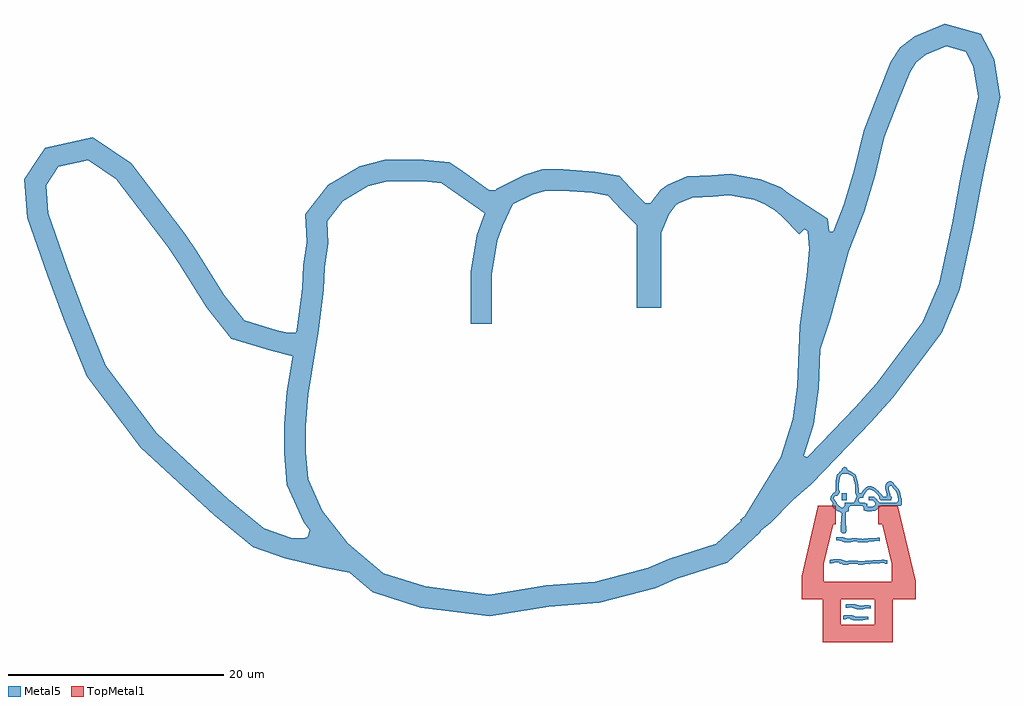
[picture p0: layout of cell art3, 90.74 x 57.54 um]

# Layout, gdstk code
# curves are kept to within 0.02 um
import gdstk
lib = gdstk.Library(unit=1e-6, precision=1e-09)
def R(c, l, rs):  # rectangles x0, y0, x1, y1
    for r in rs: c.add(gdstk.rectangle(r[:2], r[2:], *l))
def P(c, l, *ps):  # polygons
    for p in ps: c.add(gdstk.Polygon(p, *l))
Metal5 = (67, 0)
TopMetal1 = (126, 0)

art3 = lib.new_cell('art3')
R(art3, Metal5, [(-75.56,-4.755,-75.075,-4.13)])
P(art3, Metal5, [(-108.285,-15.555),(-114.69,-14.75),(-119.15,-13.345),(-121.31,-11.525),(-123.69,-11.06),(-127.345,-10.165),(-130.265,-9.145),(-133.9,-6.18),(-140.705,0.1),(-145.75,6.735),(-147.865,12.035),(-149.425,16.185),(-151.275,21.48),(-151.575,25.055),(-150.395,26.825),(-145.59,26.825),(-148.395,26.22),(-149.525,24.525),(-149.305,21.9),(-147.545,16.865),(-146.005,12.755),(-143.99,7.725),(-139.215,1.45),(-132.59,-4.67),(-129.275,-7.375),(-126.775,-8.245),(-126.515,-8.31),(-125.505,-8.31),(-125.185,-8.145),(-124.99,-7.55),(-125.58,-6.805),(-127.14,-3.335),(-127.375,-0.37),(-127.375,2.24),(-127.15,5.295),(-126.61,8.62),(-128.605,9.105),(-132.29,10.24),(-134.58,13.105),(-137.185,17.275),(-138.195,18.785),(-142.98,25.085),(-145.59,26.825),(-150.395,26.825),(-149.605,28.01),(-145.18,28.955),(-141.59,26.565),(-136.565,19.945),(-135.505,18.365),(-132.95,14.265),(-131.11,11.97),(-128.075,11.035),(-127.075,10.79),(-126.255,10.79),(-126.155,11.385),(-125.715,14.96),(-125.605,17.07),(-125.285,19.22),(-125.405,21.8),(-123.305,24.565),(-122.745,24.89),(-117.76,24.89),(-119.6,24.405),(-121.955,23.035),(-123.375,21.17),(-123.275,19.12),(-123.615,16.87),(-123.725,14.79),(-124.175,11.095),(-125.16,5.065),(-125.375,2.17),(-125.375,-0.29),(-125.17,-2.835),(-123.86,-5.755),(-121.47,-8.775),(-118.17,-11.555),(-114.26,-12.79),(-108.325,-13.535),(-103.02,-12.665),(-98.445,-12.34),(-93.54,-11.065),(-91.585,-10.195),(-87.225,-8.81),(-84.89,-6.665),(-84.965,-6.575),(-84.57,-6.245),(-81.235,-0.79),(-80.09,2.76),(-79.665,5.82),(-79.44,11.44),(-78.78,16.085),(-78.57,18.61),(-78.73,20.245),(-79.02,20.425),(-79.5,19.965),(-81.11,21.63),(-81.78,22.185),(-82.495,22.605),(-82.685,22.765),(-83.68,23.165),(-85.995,23.565),(-89.455,23.36),(-90.725,22.82),(-90.96,22.64),(-91.575,21.85),(-92.35,20.09),(-92.35,13.145),(-94.59,13.145),(-94.59,20.79),(-96.025,22.22),(-97.24,23.535),(-98.735,23.795),(-101.515,24.01),(-103.085,24.01),(-104.3,23.64),(-106.12,22.73),(-107.05,20.77),(-107.555,19.36),(-108.07,16.26),(-108.07,11.635),(-110.06,11.635),(-110.06,16.47),(-109.495,19.86),(-108.9,21.54),(-108.735,21.89),(-112.255,24.395),(-112.725,24.7),(-114.525,24.89),(-122.745,24.89),(-120.37,26.275),(-118.02,26.89),(-114.425,26.89),(-112.035,26.64),(-111.125,26.05),(-108.3,24.035),(-107.715,24.035),(-107.63,24.21),(-105.04,25.5),(-103.385,26.01),(-101.435,26.01),(-98.485,25.785),(-96.23,25.385),(-94.585,23.61),(-93.795,22.82),(-93.335,22.82),(-92.38,24.08),(-91.735,24.56),(-89.915,25.34),(-85.885,25.575),(-83.13,25.095),(-81.235,24.34),(-80.59,23.805),(-76.84,21.405),(-76.715,20.185),(-76.35,20.185),(-75.34,22.71),(-74.375,25.96),(-73.505,29.565),(-72.25,32.83),(-70.98,36.01),(-70.095,37.335),(-69.975,37.43),(-65.845,37.43),(-67.735,36.635),(-68.615,35.955),(-69.2,35.07),(-70.39,32.1),(-71.595,28.965),(-72.445,25.44),(-73.45,22.05),(-74.92,18.375),(-76.62,12.035),(-77.525,9.285),(-77.675,5.64),(-78.13,2.31),(-79.08,-0.62),(-78.745,-0.79),(-74.27,3.875),(-72.34,6.045),(-68.015,11.815),(-66.5,15.425),(-65.29,20.98),(-64.185,26.765),(-62.865,32.74),(-63.305,35.585),(-64.015,36.905),(-65.845,37.43),(-69.975,37.43),(-68.755,38.375),(-65.975,39.55),(-62.645,38.595),(-61.385,36.225),(-60.835,32.68),(-62.225,26.355),(-63.33,20.58),(-64.58,14.825),(-66.265,10.815),(-70.79,4.775),(-72.8,2.515),(-78.38,-3.305),(-80.11,-4.795),(-82.21,-6.89),(-83.04,-7.575),(-83.175,-7.8),(-86.195,-10.58),(-90.875,-12.065),(-92.88,-12.955),(-98.115,-14.32),(-102.79,-14.655)],
  [(-75.29,-8.675),(-75.29,-8.67),(-75.31,-8.67),(-75.31,-8.655),(-75.325,-8.655),(-75.325,-8.645),(-75.335,-8.645),(-75.335,-8.64),(-75.355,-8.64),(-75.355,-8.63),(-75.38,-8.63),(-75.38,-8.62),(-75.385,-8.62),(-75.385,-8.615),(-75.43,-8.615),(-75.43,-8.61),(-75.445,-8.61),(-75.445,-8.605),(-75.46,-8.605),(-75.46,-8.595),(-75.48,-8.595),(-75.48,-8.59),(-75.495,-8.59),(-75.495,-8.585),(-75.505,-8.585),(-75.505,-8.58),(-75.535,-8.58),(-75.535,-8.57),(-75.545,-8.57),(-75.545,-8.565),(-75.56,-8.565),(-75.56,-8.56),(-75.58,-8.56),(-75.58,-8.555),(-75.59,-8.555),(-75.59,-8.55),(-75.605,-8.55),(-75.605,-8.545),(-75.62,-8.545),(-75.62,-8.54),(-75.64,-8.54),(-75.64,-8.535),(-75.65,-8.535),(-75.65,-8.53),(-75.665,-8.53),(-75.665,-8.525),(-75.68,-8.525),(-75.68,-8.52),(-75.695,-8.52),(-75.695,-8.515),(-75.715,-8.515),(-75.715,-8.51),(-75.735,-8.51),(-75.735,-8.505),(-75.755,-8.505),(-75.755,-8.5),(-76.055,-8.5),(-76.055,-8.2),(-75.94,-8.2),(-75.94,-8.195),(-75.585,-8.195),(-75.585,-8.2),(-75.57,-8.2),(-75.57,-8.205),(-75.51,-8.205),(-75.51,-8.21),(-75.49,-8.21),(-75.49,-8.215),(-75.47,-8.215),(-75.47,-8.22),(-75.45,-8.22),(-75.45,-8.225),(-75.435,-8.225),(-75.435,-8.23),(-75.42,-8.23),(-75.42,-8.235),(-75.405,-8.235),(-75.405,-8.24),(-75.395,-8.24),(-75.395,-8.245),(-75.375,-8.245),(-75.375,-8.25),(-75.36,-8.25),(-75.36,-8.255),(-75.345,-8.255),(-75.345,-8.26),(-75.335,-8.26),(-75.335,-8.265),(-75.315,-8.265),(-75.315,-8.27),(-75.3,-8.27),(-75.3,-8.28),(-75.29,-8.28),(-75.29,-8.285),(-75.26,-8.285),(-75.26,-8.29),(-75.25,-8.29),(-75.25,-8.295),(-75.235,-8.295),(-75.235,-8.305),(-75.215,-8.305),(-75.215,-8.31),(-75.2,-8.31),(-75.2,-8.315),(-75.185,-8.315),(-75.185,-8.32),(-75.14,-8.32),(-75.14,-8.33),(-75.135,-8.33),(-75.135,-8.34),(-75.11,-8.34),(-75.11,-8.345),(-75.09,-8.345),(-75.09,-8.355),(-74.88,-8.355),(-74.88,-8.35),(-74.855,-8.35),(-74.855,-8.345),(-74.825,-8.345),(-74.825,-8.34),(-74.705,-8.34),(-74.705,-8.335),(-74.645,-8.335),(-74.645,-8.33),(-74.625,-8.33),(-74.625,-8.325),(-74.59,-8.325),(-74.59,-8.32),(-74.565,-8.32),(-74.565,-8.315),(-74.32,-8.315),(-74.32,-8.32),(-74.185,-8.32),(-74.185,-8.325),(-74.105,-8.325),(-74.105,-8.335),(-73.985,-8.335),(-73.985,-8.34),(-73.91,-8.34),(-73.91,-8.345),(-73.855,-8.345),(-73.855,-8.35),(-73.835,-8.35),(-73.835,-8.355),(-73.82,-8.355),(-73.82,-8.36),(-73.78,-8.36),(-73.78,-8.365),(-73.725,-8.365),(-73.725,-8.37),(-73.705,-8.37),(-73.705,-8.375),(-73.485,-8.375),(-73.485,-8.37),(-73.46,-8.37),(-73.46,-8.365),(-73.445,-8.365),(-73.445,-8.36),(-73.375,-8.36),(-73.375,-8.355),(-73.295,-8.355),(-73.295,-8.35),(-73.26,-8.35),(-73.26,-8.345),(-73.21,-8.345),(-73.21,-8.34),(-73.16,-8.34),(-73.16,-8.335),(-73.13,-8.335),(-73.13,-8.33),(-73.085,-8.33),(-73.085,-8.325),(-73.07,-8.325),(-73.07,-8.32),(-73.035,-8.32),(-73.035,-8.315),(-73.01,-8.315),(-73.01,-8.31),(-72.98,-8.31),(-72.98,-8.305),(-72.955,-8.305),(-72.955,-8.3),(-72.52,-8.3),(-72.52,-8.295),(-72.445,-8.295),(-72.445,-8.29),(-72.365,-8.29),(-72.365,-8.285),(-72.255,-8.285),(-72.255,-8.28),(-72.01,-8.28),(-72.01,-8.58),(-72.12,-8.58),(-72.12,-8.585),(-72.2,-8.585),(-72.2,-8.59),(-72.275,-8.59),(-72.275,-8.595),(-72.365,-8.595),(-72.365,-8.6),(-72.51,-8.6),(-72.51,-8.605),(-72.765,-8.605),(-72.765,-8.61),(-72.79,-8.61),(-72.79,-8.615),(-72.825,-8.615),(-72.825,-8.62),(-72.84,-8.62),(-72.84,-8.625),(-72.885,-8.625),(-72.885,-8.63),(-72.915,-8.63),(-72.915,-8.635),(-72.965,-8.635),(-72.965,-8.64),(-73.015,-8.64),(-73.015,-8.645),(-73.05,-8.645),(-73.05,-8.65),(-73.13,-8.65),(-73.13,-8.655),(-73.2,-8.655),(-73.2,-8.66),(-73.215,-8.66),(-73.215,-8.665),(-73.28,-8.665),(-73.28,-8.67),(-73.45,-8.67),(-73.45,-8.675),(-73.895,-8.675),(-73.895,-8.67),(-73.935,-8.67),(-73.935,-8.665),(-73.97,-8.665),(-73.97,-8.66),(-74.025,-8.66),(-74.025,-8.655),(-74.065,-8.655),(-74.065,-8.65),(-74.08,-8.65),(-74.08,-8.645),(-74.1,-8.645),(-74.1,-8.64),(-74.155,-8.64),(-74.155,-8.635),(-74.23,-8.635),(-74.23,-8.63),(-74.46,-8.63),(-74.46,-8.635),(-74.495,-8.635),(-74.495,-8.64),(-74.545,-8.64),(-74.545,-8.645),(-74.68,-8.645),(-74.68,-8.65),(-74.705,-8.65),(-74.705,-8.655),(-74.73,-8.655),(-74.73,-8.66),(-74.745,-8.66),(-74.745,-8.665),(-74.805,-8.665),(-74.805,-8.67),(-74.84,-8.67),(-74.84,-8.675)],
  [(-75.425,-7.845),(-75.53,-7.815),(-75.605,-7.755),(-75.66,-7.53),(-75.595,-6.97),(-75.625,-6.83),(-75.585,-6.635),(-75.595,-6.33),(-75.55,-6),(-75.715,-5.845),(-75.94,-5.775),(-76.32,-5.495),(-76.395,-5.39),(-76.41,-5.19),(-76.365,-5.04),(-76.6,-4.67),(-76.585,-4.42),(-76.295,-4.055),(-76.185,-4.045),(-76.115,-3.845),(-76.1,-2.955),(-75.95,-2.37),(-75.87,-2.29),(-75.305,-2.29),(-75.445,-2.3),(-75.535,-2.37),(-75.685,-2.525),(-75.755,-2.74),(-75.8,-2.99),(-75.825,-3.755),(-75.725,-4),(-75.955,-4.345),(-76.16,-4.375),(-76.29,-4.535),(-76.295,-4.6),(-76.25,-4.68),(-76.045,-4.955),(-76.005,-5.085),(-75.885,-5.25),(-75.565,-5.485),(-75.455,-5.485),(-75.265,-5.275),(-75.255,-4.995),(-74.425,-4.995),(-74.155,-4.41),(-74.285,-4.075),(-74.3,-3.415),(-74.5,-2.595),(-74.81,-2.39),(-75.015,-2.295),(-75.87,-2.29),(-75.57,-2.015),(-75.51,-1.8),(-75.3,-1.68),(-75.09,-1.745),(-75.035,-1.83),(-75.025,-1.94),(-74.975,-2),(-74.665,-2.125),(-74.24,-2.405),(-74,-3.385),(-73.985,-4.02),(-73.96,-4.11),(-73.73,-4.11),(-73.42,-3.69),(-73.085,-3.47),(-72.925,-3.455),(-72.58,-3.565),(-72.29,-3.775),(-71.995,-4.055),(-71.8,-4.29),(-71.755,-4.465),(-71.355,-4.465),(-71.355,-4.25),(-71.51,-3.7),(-71.515,-3.52),(-71.485,-3.405),(-70.93,-3.405),(-71.15,-3.43),(-71.195,-3.7),(-70.99,-4.38),(-70.905,-4.47),(-70.925,-4.765),(-71.94,-4.765),(-72.055,-4.62),(-72.07,-4.435),(-72.345,-4.12),(-72.625,-3.885),(-72.94,-3.76),(-73.09,-3.815),(-73.21,-3.905),(-73.5,-4.315),(-73.57,-4.445),(-73.57,-4.55),(-73.89,-4.55),(-73.995,-4.785),(-73.87,-4.995),(-73.485,-4.995),(-73.21,-5.085),(-73.17,-5.14),(-73.145,-5.36),(-73.06,-5.385),(-72.77,-5.385),(-72.62,-5.35),(-72.45,-5.205),(-72.45,-4.985),(-72.68,-4.76),(-73.045,-4.76),(-73.045,-4.45),(-72.6,-4.44),(-72.505,-4.465),(-72.055,-4.995),(-70.42,-5.005),(-70.285,-4.835),(-70.28,-4.73),(-70.405,-4.185),(-70.525,-3.92),(-70.93,-3.405),(-71.485,-3.405),(-71.33,-3.1),(-71.11,-2.99),(-70.925,-3.015),(-70.75,-3.125),(-70.54,-3.445),(-70.27,-3.765),(-70.115,-4.1),(-69.955,-4.765),(-69.98,-5.17),(-70.02,-5.245),(-70.22,-5.3),(-71.985,-5.295),(-71.99,-5.38),(-72.28,-5.67),(-72.625,-5.76),(-73.1,-5.79),(-73.365,-5.755),(-73.48,-5.685),(-73.52,-5.635),(-73.515,-5.46),(-73.655,-5.295),(-74.705,-5.295),(-74.785,-5.32),(-74.875,-5.455),(-74.91,-5.785),(-75.19,-5.87),(-75.16,-6.13),(-75.19,-6.565),(-75.155,-6.74),(-75.165,-7.03),(-75.11,-7.63),(-75.19,-7.8),(-75.29,-7.84)],
  [(-75.42,-10.75),(-75.42,-10.745),(-75.44,-10.745),(-75.44,-10.73),(-75.455,-10.73),(-75.455,-10.72),(-75.465,-10.72),(-75.465,-10.715),(-75.485,-10.715),(-75.485,-10.705),(-75.51,-10.705),(-75.51,-10.695),(-75.515,-10.695),(-75.515,-10.69),(-75.56,-10.69),(-75.56,-10.685),(-75.575,-10.685),(-75.575,-10.68),(-75.59,-10.68),(-75.59,-10.67),(-75.61,-10.67),(-75.61,-10.665),(-75.625,-10.665),(-75.625,-10.66),(-75.635,-10.66),(-75.635,-10.655),(-75.665,-10.655),(-75.665,-10.645),(-75.675,-10.645),(-75.675,-10.64),(-75.69,-10.64),(-75.69,-10.635),(-75.71,-10.635),(-75.71,-10.63),(-75.72,-10.63),(-75.72,-10.625),(-75.735,-10.625),(-75.735,-10.62),(-75.75,-10.62),(-75.75,-10.615),(-75.77,-10.615),(-75.77,-10.61),(-75.78,-10.61),(-75.78,-10.605),(-75.795,-10.605),(-75.795,-10.6),(-75.81,-10.6),(-75.81,-10.595),(-75.825,-10.595),(-75.825,-10.59),(-75.845,-10.59),(-75.845,-10.585),(-75.865,-10.585),(-75.865,-10.58),(-76.125,-10.58),(-76.125,-10.585),(-76.155,-10.585),(-76.155,-10.59),(-76.215,-10.59),(-76.215,-10.595),(-76.25,-10.595),(-76.25,-10.6),(-76.315,-10.6),(-76.315,-10.61),(-76.345,-10.61),(-76.345,-10.615),(-76.385,-10.615),(-76.385,-10.625),(-76.41,-10.625),(-76.41,-10.635),(-76.44,-10.635),(-76.44,-10.64),(-76.685,-10.64),(-76.685,-10.34),(-76.655,-10.34),(-76.655,-10.335),(-76.63,-10.335),(-76.63,-10.325),(-76.59,-10.325),(-76.59,-10.315),(-76.56,-10.315),(-76.56,-10.31),(-76.495,-10.31),(-76.495,-10.3),(-76.46,-10.3),(-76.46,-10.295),(-76.4,-10.295),(-76.4,-10.29),(-76.37,-10.29),(-76.37,-10.285),(-76.33,-10.285),(-76.33,-10.28),(-76.185,-10.28),(-76.185,-10.275),(-76.07,-10.275),(-76.07,-10.27),(-75.715,-10.27),(-75.715,-10.275),(-75.7,-10.275),(-75.7,-10.28),(-75.64,-10.28),(-75.64,-10.285),(-75.62,-10.285),(-75.62,-10.29),(-75.6,-10.29),(-75.6,-10.295),(-75.58,-10.295),(-75.58,-10.3),(-75.565,-10.3),(-75.565,-10.305),(-75.55,-10.305),(-75.55,-10.31),(-75.535,-10.31),(-75.535,-10.315),(-75.525,-10.315),(-75.525,-10.32),(-75.505,-10.32),(-75.505,-10.325),(-75.49,-10.325),(-75.49,-10.33),(-75.475,-10.33),(-75.475,-10.335),(-75.465,-10.335),(-75.465,-10.34),(-75.445,-10.34),(-75.445,-10.345),(-75.43,-10.345),(-75.43,-10.355),(-75.42,-10.355),(-75.42,-10.36),(-75.39,-10.36),(-75.39,-10.365),(-75.38,-10.365),(-75.38,-10.37),(-75.365,-10.37),(-75.365,-10.38),(-75.345,-10.38),(-75.345,-10.385),(-75.33,-10.385),(-75.33,-10.39),(-75.315,-10.39),(-75.315,-10.395),(-75.27,-10.395),(-75.27,-10.405),(-75.265,-10.405),(-75.265,-10.415),(-75.24,-10.415),(-75.24,-10.42),(-75.22,-10.42),(-75.22,-10.43),(-74.995,-10.43),(-74.995,-10.425),(-74.985,-10.425),(-74.985,-10.42),(-74.955,-10.42),(-74.955,-10.415),(-74.835,-10.415),(-74.835,-10.41),(-74.775,-10.41),(-74.775,-10.405),(-74.755,-10.405),(-74.755,-10.4),(-74.72,-10.4),(-74.72,-10.395),(-74.695,-10.395),(-74.695,-10.39),(-74.45,-10.39),(-74.45,-10.395),(-74.315,-10.395),(-74.315,-10.4),(-74.235,-10.4),(-74.235,-10.41),(-74.115,-10.41),(-74.115,-10.415),(-74.04,-10.415),(-74.04,-10.42),(-73.985,-10.42),(-73.985,-10.425),(-73.965,-10.425),(-73.965,-10.43),(-73.95,-10.43),(-73.95,-10.435),(-73.91,-10.435),(-73.91,-10.44),(-73.855,-10.44),(-73.855,-10.445),(-73.59,-10.445),(-73.59,-10.44),(-73.575,-10.44),(-73.575,-10.435),(-73.505,-10.435),(-73.505,-10.43),(-73.425,-10.43),(-73.425,-10.425),(-73.39,-10.425),(-73.39,-10.42),(-73.34,-10.42),(-73.34,-10.415),(-73.29,-10.415),(-73.29,-10.41),(-73.26,-10.41),(-73.26,-10.405),(-73.215,-10.405),(-73.215,-10.4),(-73.2,-10.4),(-73.2,-10.395),(-73.165,-10.395),(-73.165,-10.39),(-73.14,-10.39),(-73.14,-10.385),(-73.11,-10.385),(-73.11,-10.38),(-73.085,-10.38),(-73.085,-10.375),(-72.65,-10.375),(-72.65,-10.37),(-72.575,-10.37),(-72.575,-10.365),(-72.415,-10.365),(-72.415,-10.36),(-72.33,-10.36),(-72.33,-10.355),(-72.265,-10.355),(-72.265,-10.35),(-72.175,-10.35),(-72.175,-10.345),(-72.05,-10.345),(-72.05,-10.34),(-71.945,-10.34),(-71.945,-10.335),(-71.885,-10.335),(-71.885,-10.33),(-71.83,-10.33),(-71.83,-10.325),(-71.585,-10.325),(-71.585,-10.33),(-71.535,-10.33),(-71.535,-10.335),(-71.475,-10.335),(-71.475,-10.34),(-71.435,-10.34),(-71.435,-10.345),(-71.385,-10.345),(-71.385,-10.35),(-71.36,-10.35),(-71.36,-10.355),(-71.32,-10.355),(-71.32,-10.36),(-71.3,-10.36),(-71.3,-10.66),(-71.545,-10.66),(-71.545,-10.655),(-71.565,-10.655),(-71.565,-10.65),(-71.605,-10.65),(-71.605,-10.645),(-71.63,-10.645),(-71.63,-10.64),(-71.93,-10.64),(-71.93,-10.645),(-72.02,-10.645),(-72.02,-10.65),(-72.085,-10.65),(-72.085,-10.655),(-72.17,-10.655),(-72.17,-10.66),(-72.33,-10.66),(-72.33,-10.665),(-72.405,-10.665),(-72.405,-10.67),(-72.495,-10.67),(-72.495,-10.675),(-72.64,-10.675),(-72.64,-10.68),(-72.895,-10.68),(-72.895,-10.685),(-72.92,-10.685),(-72.92,-10.69),(-72.955,-10.69),(-72.955,-10.695),(-72.97,-10.695),(-72.97,-10.7),(-73.015,-10.7),(-73.015,-10.705),(-73.045,-10.705),(-73.045,-10.71),(-73.095,-10.71),(-73.095,-10.715),(-73.145,-10.715),(-73.145,-10.72),(-73.18,-10.72),(-73.18,-10.725),(-73.26,-10.725),(-73.26,-10.73),(-73.33,-10.73),(-73.33,-10.735),(-73.345,-10.735),(-73.345,-10.74),(-73.41,-10.74),(-73.41,-10.745),(-73.58,-10.745),(-73.58,-10.75),(-74.025,-10.75),(-74.025,-10.745),(-74.065,-10.745),(-74.065,-10.74),(-74.1,-10.74),(-74.1,-10.735),(-74.155,-10.735),(-74.155,-10.73),(-74.195,-10.73),(-74.195,-10.725),(-74.21,-10.725),(-74.21,-10.72),(-74.23,-10.72),(-74.23,-10.715),(-74.285,-10.715),(-74.285,-10.71),(-74.36,-10.71),(-74.36,-10.705),(-74.59,-10.705),(-74.59,-10.71),(-74.625,-10.71),(-74.625,-10.715),(-74.675,-10.715),(-74.675,-10.72),(-74.81,-10.72),(-74.81,-10.725),(-74.835,-10.725),(-74.835,-10.73),(-74.86,-10.73),(-74.86,-10.735),(-74.875,-10.735),(-74.875,-10.74),(-74.935,-10.74),(-74.935,-10.745),(-74.97,-10.745),(-74.97,-10.75)],
  [(-74.14,-14.91),(-74.14,-14.905),(-74.16,-14.905),(-74.16,-14.89),(-74.175,-14.89),(-74.175,-14.88),(-74.185,-14.88),(-74.185,-14.875),(-74.205,-14.875),(-74.205,-14.865),(-74.23,-14.865),(-74.23,-14.855),(-74.235,-14.855),(-74.235,-14.85),(-74.28,-14.85),(-74.28,-14.845),(-74.295,-14.845),(-74.295,-14.84),(-74.31,-14.84),(-74.31,-14.83),(-74.33,-14.83),(-74.33,-14.825),(-74.345,-14.825),(-74.345,-14.82),(-74.355,-14.82),(-74.355,-14.815),(-74.385,-14.815),(-74.385,-14.805),(-74.395,-14.805),(-74.395,-14.8),(-74.41,-14.8),(-74.41,-14.795),(-74.43,-14.795),(-74.43,-14.79),(-74.44,-14.79),(-74.44,-14.785),(-74.455,-14.785),(-74.455,-14.78),(-74.47,-14.78),(-74.47,-14.775),(-74.49,-14.775),(-74.49,-14.77),(-74.5,-14.77),(-74.5,-14.765),(-74.515,-14.765),(-74.515,-14.76),(-74.53,-14.76),(-74.53,-14.755),(-74.545,-14.755),(-74.545,-14.75),(-74.565,-14.75),(-74.565,-14.745),(-74.585,-14.745),(-74.585,-14.74),(-74.605,-14.74),(-74.605,-14.735),(-74.83,-14.735),(-74.83,-14.74),(-74.84,-14.74),(-74.84,-14.75),(-74.86,-14.75),(-74.86,-14.755),(-74.875,-14.755),(-74.875,-14.76),(-74.905,-14.76),(-74.905,-14.77),(-74.93,-14.77),(-74.93,-14.775),(-74.945,-14.775),(-74.945,-14.785),(-75.19,-14.785),(-75.19,-14.485),(-75.175,-14.485),(-75.175,-14.475),(-75.15,-14.475),(-75.15,-14.47),(-75.12,-14.47),(-75.12,-14.46),(-75.105,-14.46),(-75.105,-14.455),(-75.085,-14.455),(-75.085,-14.45),(-75.075,-14.45),(-75.075,-14.44),(-74.905,-14.44),(-74.905,-14.435),(-74.79,-14.435),(-74.79,-14.43),(-74.435,-14.43),(-74.435,-14.435),(-74.42,-14.435),(-74.42,-14.44),(-74.36,-14.44),(-74.36,-14.445),(-74.34,-14.445),(-74.34,-14.45),(-74.32,-14.45),(-74.32,-14.455),(-74.3,-14.455),(-74.3,-14.46),(-74.285,-14.46),(-74.285,-14.465),(-74.27,-14.465),(-74.27,-14.47),(-74.255,-14.47),(-74.255,-14.475),(-74.245,-14.475),(-74.245,-14.48),(-74.225,-14.48),(-74.225,-14.485),(-74.21,-14.485),(-74.21,-14.49),(-74.195,-14.49),(-74.195,-14.495),(-74.185,-14.495),(-74.185,-14.5),(-74.165,-14.5),(-74.165,-14.505),(-74.15,-14.505),(-74.15,-14.515),(-74.14,-14.515),(-74.14,-14.52),(-74.11,-14.52),(-74.11,-14.525),(-74.1,-14.525),(-74.1,-14.53),(-74.085,-14.53),(-74.085,-14.54),(-74.065,-14.54),(-74.065,-14.545),(-74.05,-14.545),(-74.05,-14.55),(-74.035,-14.55),(-74.035,-14.555),(-73.99,-14.555),(-73.99,-14.565),(-73.985,-14.565),(-73.985,-14.575),(-73.96,-14.575),(-73.96,-14.58),(-73.94,-14.58),(-73.94,-14.59),(-73.715,-14.59),(-73.715,-14.585),(-73.705,-14.585),(-73.705,-14.58),(-73.675,-14.58),(-73.675,-14.575),(-73.555,-14.575),(-73.555,-14.57),(-73.495,-14.57),(-73.495,-14.565),(-73.475,-14.565),(-73.475,-14.56),(-73.44,-14.56),(-73.44,-14.555),(-73.415,-14.555),(-73.415,-14.55),(-73.17,-14.55),(-73.17,-14.555),(-73.035,-14.555),(-73.035,-14.56),(-72.955,-14.56),(-72.955,-14.57),(-72.835,-14.57),(-72.835,-14.87),(-73.08,-14.87),(-73.08,-14.865),(-73.31,-14.865),(-73.31,-14.87),(-73.345,-14.87),(-73.345,-14.875),(-73.395,-14.875),(-73.395,-14.88),(-73.53,-14.88),(-73.53,-14.885),(-73.555,-14.885),(-73.555,-14.89),(-73.58,-14.89),(-73.58,-14.895),(-73.595,-14.895),(-73.595,-14.9),(-73.655,-14.9),(-73.655,-14.905),(-73.69,-14.905),(-73.69,-14.91)],
  [(-74.405,-15.945),(-74.405,-15.94),(-74.425,-15.94),(-74.425,-15.925),(-74.44,-15.925),(-74.44,-15.915),(-74.45,-15.915),(-74.45,-15.91),(-74.47,-15.91),(-74.47,-15.9),(-74.495,-15.9),(-74.495,-15.89),(-74.5,-15.89),(-74.5,-15.885),(-74.545,-15.885),(-74.545,-15.88),(-74.56,-15.88),(-74.56,-15.875),(-74.575,-15.875),(-74.575,-15.865),(-74.595,-15.865),(-74.595,-15.86),(-74.61,-15.86),(-74.61,-15.855),(-74.62,-15.855),(-74.62,-15.85),(-74.65,-15.85),(-74.65,-15.84),(-74.66,-15.84),(-74.66,-15.835),(-74.675,-15.835),(-74.675,-15.83),(-74.695,-15.83),(-74.695,-15.825),(-74.705,-15.825),(-74.705,-15.82),(-74.72,-15.82),(-74.72,-15.815),(-74.735,-15.815),(-74.735,-15.81),(-74.755,-15.81),(-74.755,-15.805),(-74.765,-15.805),(-74.765,-15.8),(-74.78,-15.8),(-74.78,-15.795),(-74.795,-15.795),(-74.795,-15.79),(-74.81,-15.79),(-74.81,-15.785),(-74.83,-15.785),(-74.83,-15.78),(-74.85,-15.78),(-74.85,-15.775),(-75.07,-15.775),(-75.07,-15.785),(-75.09,-15.785),(-75.09,-15.79),(-75.105,-15.79),(-75.105,-15.795),(-75.135,-15.795),(-75.135,-15.805),(-75.16,-15.805),(-75.16,-15.81),(-75.175,-15.81),(-75.175,-15.82),(-75.42,-15.82),(-75.42,-15.52),(-75.405,-15.52),(-75.405,-15.51),(-75.38,-15.51),(-75.38,-15.505),(-75.35,-15.505),(-75.35,-15.495),(-75.335,-15.495),(-75.335,-15.49),(-75.315,-15.49),(-75.315,-15.485),(-75.305,-15.485),(-75.305,-15.475),(-75.17,-15.475),(-75.17,-15.47),(-75.055,-15.47),(-75.055,-15.465),(-74.7,-15.465),(-74.7,-15.47),(-74.685,-15.47),(-74.685,-15.475),(-74.625,-15.475),(-74.625,-15.48),(-74.605,-15.48),(-74.605,-15.485),(-74.585,-15.485),(-74.585,-15.49),(-74.565,-15.49),(-74.565,-15.495),(-74.55,-15.495),(-74.55,-15.5),(-74.535,-15.5),(-74.535,-15.505),(-74.52,-15.505),(-74.52,-15.51),(-74.51,-15.51),(-74.51,-15.515),(-74.49,-15.515),(-74.49,-15.52),(-74.475,-15.52),(-74.475,-15.525),(-74.46,-15.525),(-74.46,-15.53),(-74.45,-15.53),(-74.45,-15.535),(-74.43,-15.535),(-74.43,-15.54),(-74.415,-15.54),(-74.415,-15.55),(-74.405,-15.55),(-74.405,-15.555),(-74.375,-15.555),(-74.375,-15.56),(-74.365,-15.56),(-74.365,-15.565),(-74.35,-15.565),(-74.35,-15.575),(-74.33,-15.575),(-74.33,-15.58),(-74.315,-15.58),(-74.315,-15.585),(-74.3,-15.585),(-74.3,-15.59),(-74.255,-15.59),(-74.255,-15.6),(-74.25,-15.6),(-74.25,-15.61),(-74.225,-15.61),(-74.225,-15.615),(-74.205,-15.615),(-74.205,-15.625),(-73.985,-15.625),(-73.985,-15.62),(-73.97,-15.62),(-73.97,-15.615),(-73.94,-15.615),(-73.94,-15.61),(-73.82,-15.61),(-73.82,-15.605),(-73.76,-15.605),(-73.76,-15.6),(-73.74,-15.6),(-73.74,-15.595),(-73.705,-15.595),(-73.705,-15.59),(-73.68,-15.59),(-73.68,-15.585),(-73.435,-15.585),(-73.435,-15.59),(-73.3,-15.59),(-73.3,-15.595),(-73.22,-15.595),(-73.22,-15.605),(-73.1,-15.605),(-73.1,-15.905),(-73.345,-15.905),(-73.345,-15.9),(-73.575,-15.9),(-73.575,-15.905),(-73.61,-15.905),(-73.61,-15.91),(-73.66,-15.91),(-73.66,-15.915),(-73.795,-15.915),(-73.795,-15.92),(-73.82,-15.92),(-73.82,-15.925),(-73.845,-15.925),(-73.845,-15.93),(-73.86,-15.93),(-73.86,-15.935),(-73.92,-15.935),(-73.92,-15.94),(-73.955,-15.94),(-73.955,-15.945)])
P(art3, TopMetal1, [(-77.305,-17.995),(-77.3,-13.98),(-75.66,-13.98),(-75.66,-16.355),(-72.465,-16.355),(-72.465,-13.98),(-79.285,-13.98),(-79.285,-11.82),(-77.76,-5.295),(-76.085,-5.295),(-76.085,-6.985),(-76.34,-6.985),(-77.215,-10.69),(-77.215,-12.34),(-70.9,-12.34),(-70.9,-10.69),(-71.78,-6.985),(-72.145,-6.985),(-72.145,-5.295),(-70.32,-5.295),(-68.665,-12.3),(-68.665,-13.98),(-70.825,-13.98),(-70.825,-17.995)])

lib.write_gds('art3.gds')
